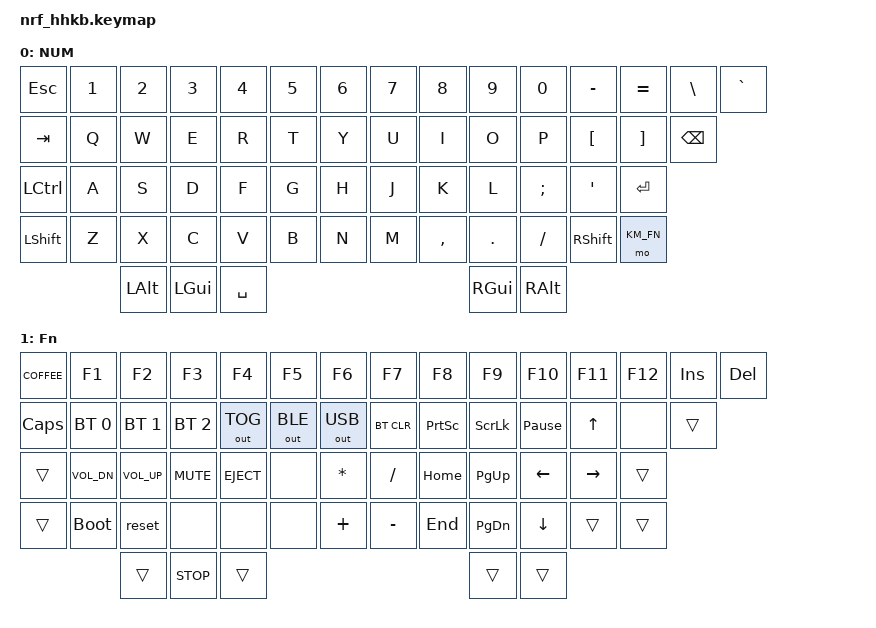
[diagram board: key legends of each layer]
/*
 * Copyright (c) 2022 The ZMK Contributors
 *
 * SPDX-License-Identifier: MIT
 */

#include <behaviors.dtsi>
#include <dt-bindings/zmk/keys.h>
#include <dt-bindings/zmk/bt.h>
#include <dt-bindings/zmk/outputs.h>
#include <dt-bindings/zmk/rgb.h>
#include <dt-bindings/zmk/ext_power.h>


#define KM_DEFAULT 0
#define KM_FN 1

/ {
	behaviors {
        // ht: hold_tap {
        //     compatible = "zmk,behavior-hold-tap";
        //     label = "POSITIONAL_HOLD_TAP";
        //     flavor = "hold-preferred";
        //     #binding-cells = <2>;
        //     tapping-term-ms = <400>;
        //     quick-tap-ms = <200>;
        //     bindings = <&kp>, <&kp>;
        // };

		// ht_bt: hold_tap {
        //     compatible = "zmk,behavior-hold-tap";
        //     label = "POSITIONAL_HOLD_TAP";
        //     flavor = "hold-preferred";
        //     #binding-cells = <2>;
        //     tapping-term-ms = <400>;
        //     quick-tap-ms = <200>;
        //     bindings = <&bt>, <&bt>;
        // };
    };

	keymap {
		compatible = "zmk,keymap";

// ------------------------------------------------------------------------------------------
// | ESC |  1  |  2  |  3  |  4  |  5  |  6  |  7  |  8  |  9  |  0  |  -  |  =  |  \  |  `  |
// |  TAB  |  Q  |  W  |  E  |  R  |  T  |  Y  |  U  |  I  |  O  |  P  |  [  |  ]  |   Del   |
// |  CAPS   |  A  |  S  |  D  |  F  |  G  |  H  |  J  |  K  |  L  |  ;  |  '  |    ENTER    |
// |   SHIFT   |  Z  |  X  |  C  |  V  |  B  |  N  |  M  |  ,  |  .  |  /  |   SHIFT   | FN  |
//        | ALT |   CMD   |               SPACE               |   CMD   | ALT |
// ------------------------------------------------------------------------------------------
		// Layer 0
		default_layer {
			label = "NUM";
			bindings = <
	&kp ESC &kp N1 &kp N2 &kp N3 &kp N4 &kp N5 &kp N6 &kp N7 &kp   N8  &kp  N9 &kp  N0  &kp MINUS &kp EQUAL &kp BSLH &kp GRAVE
	&kp TAB  &kp Q  &kp W  &kp E  &kp R  &kp T  &kp Y  &kp U  &kp   I   &kp  O  &kp   P  &kp LBKT &kp RBKT       &kp BSPC 
	&kp LCTL  &kp A  &kp S  &kp D  &kp F  &kp G  &kp H  &kp J  &kp   K   &kp  L  &kp SEMI &kp SQT                &kp RET
	&kp LSHFT  &kp Z  &kp X  &kp C  &kp V  &kp B  &kp N  &kp M  &kp COMMA &kp DOT &kp FSLH         &kp RSHFT     &mo KM_FN
	            &kp LALT &kp LGUI               &kp SPACE                 &kp  RGUI  &kp  RALT
			>;
		};

 		// Layer 1
		fn_layer {
			label = "Fn";
			bindings = <
&kp K_COFFEE 	&kp F1     		&kp F2     		&kp F3     		&kp F4     		&kp F5     		&kp F6     		&kp F7     	&kp F8   	&kp F9		&kp F10    		&kp F11    	&kp F12  &kp INS	&kp DEL
&kp CAPS     	&bt BT_SEL 0 	&bt BT_SEL 1 	&bt BT_SEL 2 	&out OUT_TOG	&out OUT_BLE	&out OUT_USB	&bt BT_CLR	&kp PSCRN	&kp SLCK   	&kp PAUSE_BREAK &kp UP     	&none    &trans
&trans          &kp C_VOL_DN 	&kp C_VOL_UP 	&kp C_MUTE   	&kp C_EJECT     &none      		&kp ASTRK   	&kp FSLH    &kp HOME    &kp PG_UP   &kp LEFT      	&kp RIGHT  	&trans
&trans          &bootloader     &reset      	&none      		&none      		&none      		&kp PLUS    	&kp MINUS   &kp END     &kp PG_DN   &kp DOWN      	&trans		&trans
            					&trans       	&kp C_STOP      &trans                                                                  &trans     	&trans     
			>;
		};
	};
};
